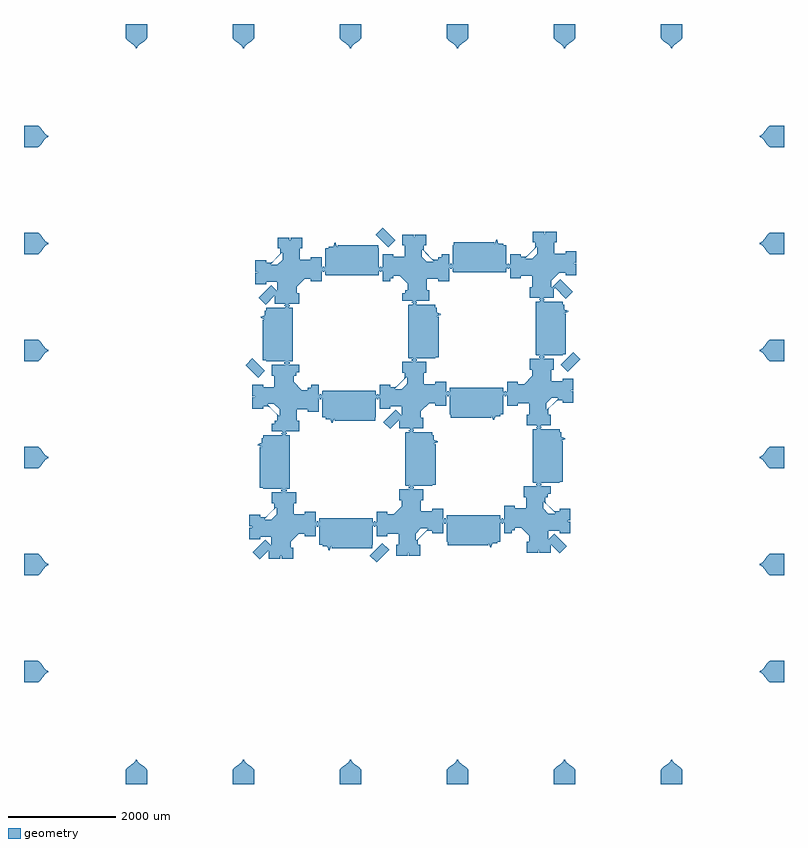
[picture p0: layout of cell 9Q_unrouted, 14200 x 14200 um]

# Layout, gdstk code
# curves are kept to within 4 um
import gdstk
lib = gdstk.Library(unit=1e-6, precision=1e-09)
def P(c, l, *ps):  # polygons
    for p in ps: c.add(gdstk.Polygon(p, *l))
geometry = (1, 0)

c_9q_unrouted = lib.new_cell('9Q_unrouted')
P(c_9q_unrouted, geometry, [(-1250,650),(-1250,1050),(-1000,1050),(-980.645,1045.032),(-941.935,1011.459),(-845.161,885.558),(-819.355,865.968),(-800,861),(-800,839),(-819.355,834.032),(-845.161,814.442),(-941.935,688.541),(-980.645,654.968),(-1000,650)],
  [(12700,650),(12674.194,658.628),(12648.387,681.264),(12551.613,807.736),(12525.806,830.372),(12500,839),(12500,861),(12519.355,865.968),(12545.161,885.558),(12641.935,1011.459),(12680.645,1045.032),(12700,1050),(12950,1050),(12950,650)],
  [(-1250,2650),(-1250,3050),(-1000,3050),(-980.645,3045.032),(-941.935,3011.459),(-845.161,2885.558),(-819.355,2865.968),(-800,2861),(-800,2839),(-819.355,2834.032),(-845.161,2814.442),(-941.935,2688.541),(-980.645,2654.968),(-1000,2650)],
  [(12700,2650),(12674.194,2658.628),(12648.387,2681.264),(12551.613,2807.736),(12525.806,2830.372),(12500,2839),(12500,2861),(12519.355,2865.968),(12545.161,2885.558),(12641.935,3011.459),(12680.645,3045.032),(12700,3050),(12950,3050),(12950,2650)],
  [(-1250,4650),(-1250,5050),(-1000,5050),(-980.645,5045.032),(-941.935,5011.459),(-845.161,4885.558),(-819.355,4865.968),(-800,4861),(-800,4839),(-819.355,4834.032),(-845.161,4814.442),(-941.935,4688.541),(-980.645,4654.968),(-1000,4650)],
  [(12700,4650),(12674.194,4658.628),(12648.387,4681.264),(12551.613,4807.736),(12525.806,4830.372),(12500,4839),(12500,4861),(12519.355,4865.968),(12545.161,4885.558),(12641.935,5011.459),(12680.645,5045.032),(12700,5050),(12950,5050),(12950,4650)],
  [(-1250,6650),(-1250,7050),(-1000,7050),(-980.645,7045.032),(-941.935,7011.459),(-845.161,6885.558),(-819.355,6865.968),(-800,6861),(-800,6839),(-819.355,6834.032),(-845.161,6814.442),(-941.935,6688.541),(-980.645,6654.968),(-1000,6650)],
  [(12700,6650),(12674.194,6658.628),(12648.387,6681.264),(12551.613,6807.736),(12525.806,6830.372),(12500,6839),(12500,6861),(12519.355,6865.968),(12545.161,6885.558),(12641.935,7011.459),(12680.645,7045.032),(12700,7050),(12950,7050),(12950,6650)],
  [(-1250,8650),(-1250,9050),(-1000,9050),(-980.645,9045.032),(-941.935,9011.459),(-845.161,8885.558),(-819.355,8865.968),(-800,8861),(-800,8839),(-819.355,8834.032),(-845.161,8814.442),(-941.935,8688.541),(-980.645,8654.968),(-1000,8650)],
  [(12700,8650),(12674.194,8658.628),(12648.387,8681.264),(12551.613,8807.736),(12525.806,8830.372),(12500,8839),(12500,8861),(12519.355,8865.968),(12545.161,8885.558),(12641.935,9011.459),(12680.645,9045.032),(12700,9050),(12950,9050),(12950,8650)],
  [(-1250,10650),(-1250,11050),(-1000,11050),(-980.645,11045.032),(-941.935,11011.459),(-845.161,10885.558),(-819.355,10865.968),(-800,10861),(-800,10839),(-819.355,10834.032),(-845.161,10814.442),(-941.935,10688.541),(-980.645,10654.968),(-1000,10650)],
  [(12700,10650),(12674.194,10658.628),(12648.387,10681.264),(12551.613,10807.736),(12525.806,10830.372),(12500,10839),(12500,10861),(12519.355,10865.968),(12545.161,10885.558),(12641.935,11011.459),(12680.645,11045.032),(12700,11050),(12950,11050),(12950,10650)],
  [(650,-1250),(650,-1000),(654.968,-980.645),(688.541,-941.935),(814.442,-845.161),(834.032,-819.355),(839,-800),(861,-800),(865.968,-819.355),(885.558,-845.161),(1011.459,-941.935),(1045.032,-980.645),(1050,-1000),(1050,-1250)],
  [(839,12500),(834.032,12519.355),(814.442,12545.161),(688.541,12641.935),(654.968,12680.645),(650,12700),(650,12950),(1050,12950),(1050,12700),(1045.032,12680.645),(1011.459,12641.935),(885.558,12545.161),(865.968,12519.355),(861,12500)],
  [(2650,-1250),(2650,-1000),(2654.968,-980.645),(2688.541,-941.935),(2814.442,-845.161),(2834.032,-819.355),(2839,-800),(2861,-800),(2865.968,-819.355),(2885.558,-845.161),(3011.459,-941.935),(3045.032,-980.645),(3050,-1000),(3050,-1250)],
  [(2839,12500),(2834.032,12519.355),(2814.442,12545.161),(2688.541,12641.935),(2654.968,12680.645),(2650,12700),(2650,12950),(3050,12950),(3050,12700),(3045.032,12680.645),(3011.459,12641.935),(2885.558,12545.161),(2865.968,12519.355),(2861,12500)],
  [(4650,-1250),(4650,-1000),(4654.968,-980.645),(4688.541,-941.935),(4814.442,-845.161),(4834.032,-819.355),(4839,-800),(4861,-800),(4865.968,-819.355),(4885.558,-845.161),(5011.459,-941.935),(5045.032,-980.645),(5050,-1000),(5050,-1250)],
  [(4839,12500),(4834.032,12519.355),(4814.442,12545.161),(4688.541,12641.935),(4654.968,12680.645),(4650,12700),(4650,12950),(5050,12950),(5050,12700),(5045.032,12680.645),(5011.459,12641.935),(4885.558,12545.161),(4865.968,12519.355),(4861,12500)],
  [(6650,-1250),(6650,-1000),(6654.968,-980.645),(6688.541,-941.935),(6814.442,-845.161),(6834.032,-819.355),(6839,-800),(6861,-800),(6865.968,-819.355),(6885.558,-845.161),(7011.459,-941.935),(7045.032,-980.645),(7050,-1000),(7050,-1250)],
  [(6839,12500),(6834.032,12519.355),(6814.442,12545.161),(6688.541,12641.935),(6654.968,12680.645),(6650,12700),(6650,12950),(7050,12950),(7050,12700),(7045.032,12680.645),(7011.459,12641.935),(6885.558,12545.161),(6865.968,12519.355),(6861,12500)],
  [(8650,-1250),(8650,-1000),(8654.968,-980.645),(8688.541,-941.935),(8814.442,-845.161),(8834.032,-819.355),(8839,-800),(8861,-800),(8865.968,-819.355),(8885.558,-845.161),(9011.459,-941.935),(9045.032,-980.645),(9050,-1000),(9050,-1250)],
  [(8839,12500),(8834.032,12519.355),(8814.442,12545.161),(8688.541,12641.935),(8654.968,12680.645),(8650,12700),(8650,12950),(9050,12950),(9050,12700),(9045.032,12680.645),(9011.459,12641.935),(8885.558,12545.161),(8865.968,12519.355),(8861,12500)],
  [(10650,-1250),(10650,-1000),(10654.968,-980.645),(10688.541,-941.935),(10814.442,-845.161),(10834.032,-819.355),(10839,-800),(10861,-800),(10865.968,-819.355),(10885.558,-845.161),(11011.459,-941.935),(11045.032,-980.645),(11050,-1000),(11050,-1250)],
  [(10839,12500),(10834.032,12519.355),(10814.442,12545.161),(10688.541,12641.935),(10654.968,12680.645),(10650,12700),(10650,12950),(11050,12950),(11050,12700),(11045.032,12680.645),(11011.459,12641.935),(10885.558,12545.161),(10865.968,12519.355),(10861,12500)],
  [(3269.215,7708.521),(3140.521,7837.215),(3373.866,8070.56),(3486,7958.426),(3486,8134),(3272.057,8134),(3272.057,8087),(3072.057,8087),(3072.057,8302),(3112.598,8301.64),(3122.057,8290.114),(3122.057,8333.886),(3112.598,8322.36),(3072.057,8322),(3072.057,8537),(3272.057,8537),(3272.057,8490),(3363.996,8490),(3371.996,8498),(3378.309,8492.999),(3455.727,8568.702),(3358.1,8465.719),(3355.806,8456.563),(3365.027,8448.996),(3482.936,8449.945),(3583.004,8552.853),(3583.004,8666.973),(3574.474,8676.385),(3463.298,8576.273),(3539.001,8653.691),(3534,8660.004),(3542,8668.004),(3542,8759.943),(3495,8759.943),(3495,8959.943),(3710,8959.943),(3709.64,8919.402),(3698.114,8909.943),(3741.886,8909.943),(3730.36,8919.402),(3730,8959.943),(3945,8959.943),(3945,8759.943),(3898,8759.943),(3898,8546),(4111.943,8546),(4111.943,8593),(4311.943,8593),(4311.943,8378),(4271.402,8378.36),(4261.943,8389.886),(4261.943,8346.114),(4271.402,8357.64),(4311.943,8358),(4311.943,8143),(4111.943,8143),(4111.943,8190),(3994.548,8190),(3842,8037.452),(3842,7920.057),(3889,7920.057),(3889,7720.057),(3674,7720.057),(3674.36,7760.598),(3685.886,7770.057),(3642.114,7770.057),(3653.64,7760.598),(3654,7720.057),(3439,7720.057),(3439,7878.306)],
  [(5558.866,8780.44),(5325.521,9013.785),(5454.215,9142.479),(5687.56,8909.134)],
  [(5875,7776.057),(5875,7976.057),(5922,7976.057),(5922,8093.452),(5769.452,8246),(5652.057,8246),(5652.057,8199),(5452.057,8199),(5452.057,8414),(5492.598,8413.64),(5502.057,8402.114),(5502.057,8445.886),(5492.598,8434.36),(5452.057,8434),(5452.057,8649),(5652.057,8649),(5652.057,8602),(5866,8602),(5866,8815.943),(5819,8815.943),(5819,9015.943),(6034,9015.943),(6033.64,8975.402),(6022.114,8965.943),(6065.886,8965.943),(6054.36,8975.402),(6054,9015.943),(6269,9015.943),(6269,8815.943),(6222,8815.943),(6222,8724.004),(6230,8716.004),(6224.999,8709.691),(6300.702,8632.273),(6197.719,8729.9),(6188.563,8732.194),(6180.996,8722.973),(6181.945,8605.064),(6284.853,8504.996),(6398.973,8504.996),(6408.385,8513.526),(6308.273,8624.702),(6385.691,8548.999),(6392.004,8554),(6400.004,8546),(6491.943,8546),(6491.943,8593),(6691.943,8593),(6691.943,8378),(6651.402,8378.36),(6641.943,8389.886),(6641.943,8346.114),(6651.402,8357.64),(6691.943,8358),(6691.943,8143),(6491.943,8143),(6491.943,8190),(6278,8190),(6278,7976.057),(6325,7976.057),(6325,7776.057),(6110,7776.057),(6110.36,7816.598),(6121.886,7826.057),(6078.114,7826.057),(6089.64,7816.598),(6090,7776.057)],
  [(8874.785,7820.521),(8665,8030.306),(8665,8007.678),(8649,8023.678),(8649,7832.057),(8434,7832.057),(8434.36,7872.598),(8445.886,7882.057),(8402.114,7882.057),(8413.64,7872.598),(8414,7832.057),(8199,7832.057),(8199,8032.057),(8246,8032.057),(8246,8246),(8032.057,8246),(8032.057,8199),(7832.057,8199),(7832.057,8414),(7872.598,8413.64),(7882.057,8402.114),(7882.057,8445.886),(7872.598,8434.36),(7832.057,8434),(7832.057,8649),(8032.057,8649),(8032.057,8602),(8123.996,8602),(8131.996,8610),(8138.309,8604.999),(8215.727,8680.702),(8115.615,8569.526),(8125.027,8560.996),(8239.147,8560.996),(8342.055,8661.064),(8343.004,8778.973),(8335.437,8788.194),(8326.281,8785.9),(8223.298,8688.273),(8299.001,8765.691),(8294,8772.004),(8302,8780.004),(8302,8871.943),(8255,8871.943),(8255,9071.943),(8470,9071.943),(8469.64,9031.402),(8458.114,9021.943),(8501.886,9021.943),(8490.36,9031.402),(8490,9071.943),(8705,9071.943),(8705,8871.943),(8658,8871.943),(8658,8658),(8871.943,8658),(8871.943,8705),(9071.943,8705),(9071.943,8490),(9031.402,8490.36),(9021.943,8501.886),(9021.943,8458.114),(9031.402,8469.64),(9071.943,8470),(9071.943,8255),(8871.943,8255),(8871.943,8302),(8754.548,8302),(8602,8149.452),(8602,8032.057),(8640.621,8032.057),(8624.621,8048.057),(8647.249,8048.057),(8641.44,8053.866),(8770.134,8182.56),(9003.479,7949.215)],
  [(3122.866,6344.44),(2889.521,6577.785),(3018.215,6706.479),(3251.56,6473.134)],
  [(3439,5340.057),(3439,5540.057),(3486,5540.057),(3486,5631.996),(3478,5639.996),(3483.001,5646.309),(3407.298,5723.727),(3510.281,5626.1),(3519.437,5623.806),(3527.004,5633.027),(3526.055,5750.936),(3423.147,5851.004),(3309.027,5851.004),(3299.615,5842.474),(3399.727,5731.298),(3322.309,5807.001),(3315.996,5802),(3307.996,5810),(3216.057,5810),(3216.057,5763),(3016.057,5763),(3016.057,5978),(3056.598,5977.64),(3066.057,5966.114),(3066.057,6009.886),(3056.598,5998.36),(3016.057,5998),(3016.057,6213),(3216.057,6213),(3216.057,6166),(3430,6166),(3430,6379.943),(3383,6379.943),(3383,6579.943),(3598,6579.943),(3597.64,6539.402),(3586.114,6529.943),(3629.886,6529.943),(3618.36,6539.402),(3618,6579.943),(3833,6579.943),(3833,6379.943),(3786,6379.943),(3786,6262.548),(3938.548,6110),(4055.943,6110),(4055.943,6157),(4255.943,6157),(4255.943,5942),(4215.402,5942.36),(4205.943,5953.886),(4205.943,5910.114),(4215.402,5921.64),(4255.943,5922),(4255.943,5707),(4055.943,5707),(4055.943,5754),(3842,5754),(3842,5540.057),(3889,5540.057),(3889,5340.057),(3674,5340.057),(3674.36,5380.598),(3685.886,5390.057),(3642.114,5390.057),(3653.64,5380.598),(3654,5340.057)],
  [(5593.215,5384.521),(5464.521,5513.215),(5697.866,5746.56),(5810,5634.426),(5810,5810),(5596.057,5810),(5596.057,5763),(5396.057,5763),(5396.057,5978),(5436.598,5977.64),(5446.057,5966.114),(5446.057,6009.886),(5436.598,5998.36),(5396.057,5998),(5396.057,6213),(5596.057,6213),(5596.057,6166),(5687.996,6166),(5695.996,6174),(5702.309,6168.999),(5779.727,6244.702),(5682.1,6141.719),(5679.806,6132.563),(5689.027,6124.996),(5806.936,6125.945),(5907.004,6228.853),(5907.004,6342.973),(5898.474,6352.385),(5787.298,6252.273),(5863.001,6329.691),(5858,6336.004),(5866,6344.004),(5866,6435.943),(5819,6435.943),(5819,6635.943),(6034,6635.943),(6033.64,6595.402),(6022.114,6585.943),(6065.886,6585.943),(6054.36,6595.402),(6054,6635.943),(6269,6635.943),(6269,6435.943),(6222,6435.943),(6222,6222),(6435.943,6222),(6435.943,6269),(6635.943,6269),(6635.943,6054),(6595.402,6054.36),(6585.943,6065.886),(6585.943,6022.114),(6595.402,6033.64),(6635.943,6034),(6635.943,5819),(6435.943,5819),(6435.943,5866),(6318.548,5866),(6166,5713.452),(6166,5596.057),(6213,5596.057),(6213,5396.057),(5998,5396.057),(5998.36,5436.598),(6009.886,5446.057),(5966.114,5446.057),(5977.64,5436.598),(5978,5396.057),(5763,5396.057),(5763,5554.306)],
  [(8909.134,6456.44),(8780.44,6585.134),(9013.785,6818.479),(9142.479,6689.785)],
  [(8143,5452.057),(8143,5652.057),(8190,5652.057),(8190,5866),(7976.057,5866),(7976.057,5819),(7776.057,5819),(7776.057,6034),(7816.598,6033.64),(7826.057,6022.114),(7826.057,6065.886),(7816.598,6054.36),(7776.057,6054),(7776.057,6269),(7976.057,6269),(7976.057,6222),(8093.452,6222),(8246,6374.548),(8246,6491.943),(8199,6491.943),(8199,6691.943),(8414,6691.943),(8413.64,6651.402),(8402.114,6641.943),(8445.886,6641.943),(8434.36,6651.402),(8434,6691.943),(8649,6691.943),(8649,6491.943),(8602,6491.943),(8602,6278),(8815.943,6278),(8815.943,6325),(9015.943,6325),(9015.943,6110),(8975.402,6110.36),(8965.943,6121.886),(8965.943,6078.114),(8975.402,6089.64),(9015.943,6090),(9015.943,5875),(8815.943,5875),(8815.943,5922),(8724.004,5922),(8716.004,5914),(8709.691,5919.001),(8632.273,5843.298),(8729.9,5946.281),(8732.194,5955.437),(8722.973,5963.004),(8605.064,5962.055),(8504.996,5859.147),(8504.996,5745.027),(8513.526,5735.615),(8624.702,5835.727),(8548.999,5758.309),(8554,5751.996),(8546,5743.996),(8546,5652.057),(8593,5652.057),(8593,5452.057),(8378,5452.057),(8378.36,5492.598),(8389.886,5502.057),(8346.114,5502.057),(8357.64,5492.598),(8358,5452.057)],
  [(3157.215,2948.521),(3028.521,3077.215),(3261.866,3310.56),(3374,3198.426),(3374,3374),(3160.057,3374),(3160.057,3327),(2960.057,3327),(2960.057,3542),(3000.598,3541.64),(3010.057,3530.114),(3010.057,3573.886),(3000.598,3562.36),(2960.057,3562),(2960.057,3777),(3160.057,3777),(3160.057,3730),(3251.996,3730),(3259.996,3738),(3266.309,3732.999),(3343.727,3808.702),(3246.1,3705.719),(3243.806,3696.563),(3253.027,3688.996),(3370.936,3689.945),(3471.004,3792.853),(3471.004,3906.973),(3462.474,3916.385),(3351.298,3816.273),(3427.001,3893.691),(3422,3900.004),(3430,3908.004),(3430,3999.943),(3383,3999.943),(3383,4199.943),(3598,4199.943),(3597.64,4159.402),(3586.114,4149.943),(3629.886,4149.943),(3618.36,4159.402),(3618,4199.943),(3833,4199.943),(3833,3999.943),(3786,3999.943),(3786,3786),(3999.943,3786),(3999.943,3833),(4199.943,3833),(4199.943,3618),(4159.402,3618.36),(4149.943,3629.886),(4149.943,3586.114),(4159.402,3597.64),(4199.943,3598),(4199.943,3383),(3999.943,3383),(3999.943,3430),(3882.548,3430),(3730,3277.452),(3730,3160.057),(3777,3160.057),(3777,2960.057),(3562,2960.057),(3562.36,3000.598),(3573.886,3010.057),(3530.114,3010.057),(3541.64,3000.598),(3542,2960.057),(3327,2960.057),(3327,3118.306)],
  [(5707,3016.057),(5707,3216.057),(5754,3216.057),(5754,3430),(5540.057,3430),(5540.057,3383),(5340.057,3383),(5340.057,3598),(5380.598,3597.64),(5390.057,3586.114),(5390.057,3629.886),(5380.598,3618.36),(5340.057,3618),(5340.057,3833),(5540.057,3833),(5540.057,3786),(5657.452,3786),(5810,3938.548),(5810,4055.943),(5763,4055.943),(5763,4255.943),(5978,4255.943),(5977.64,4215.402),(5966.114,4205.943),(6009.886,4205.943),(5998.36,4215.402),(5998,4255.943),(6213,4255.943),(6213,4055.943),(6166,4055.943),(6166,3842),(6379.943,3842),(6379.943,3889),(6579.943,3889),(6579.943,3674),(6539.402,3674.36),(6529.943,3685.886),(6529.943,3642.114),(6539.402,3653.64),(6579.943,3654),(6579.943,3439),(6379.943,3439),(6379.943,3486),(6288.004,3486),(6280.004,3478),(6273.691,3483.001),(6196.273,3407.298),(6293.9,3510.281),(6296.194,3519.437),(6286.973,3527.004),(6169.064,3526.055),(6068.996,3423.147),(6068.996,3309.027),(6077.526,3299.615),(6188.702,3399.727),(6112.999,3322.309),(6118,3315.996),(6110,3307.996),(6110,3216.057),(6157,3216.057),(6157,3016.057),(5942,3016.057),(5942.36,3056.598),(5953.886,3066.057),(5910.114,3066.057),(5921.64,3056.598),(5922,3016.057)],
  [(5342.215,2889.521),(5213.521,3018.215),(5446.866,3251.56),(5575.56,3122.866)],
  [(8762.785,3060.521),(8593,3230.306),(8593,3072.057),(8378,3072.057),(8378.36,3112.598),(8389.886,3122.057),(8346.114,3122.057),(8357.64,3112.598),(8358,3072.057),(8143,3072.057),(8143,3272.057),(8190,3272.057),(8190,3389.452),(8037.452,3542),(7920.057,3542),(7920.057,3495),(7720.057,3495),(7720.057,3710),(7760.598,3709.64),(7770.057,3698.114),(7770.057,3741.886),(7760.598,3730.36),(7720.057,3730),(7720.057,3945),(7920.057,3945),(7920.057,3898),(8134,3898),(8134,4111.943),(8087,4111.943),(8087,4311.943),(8302,4311.943),(8301.64,4271.402),(8290.114,4261.943),(8333.886,4261.943),(8322.36,4271.402),(8322,4311.943),(8537,4311.943),(8537,4111.943),(8490,4111.943),(8490,4020.004),(8498,4012.004),(8492.999,4005.691),(8568.702,3928.273),(8457.526,4028.385),(8448.996,4018.973),(8448.996,3904.853),(8549.064,3801.945),(8666.973,3800.996),(8676.194,3808.563),(8673.9,3817.719),(8576.273,3920.702),(8653.691,3844.999),(8660.004,3850),(8668.004,3842),(8759.943,3842),(8759.943,3889),(8959.943,3889),(8959.943,3674),(8919.402,3674.36),(8909.943,3685.886),(8909.943,3642.114),(8919.402,3653.64),(8959.943,3654),(8959.943,3439),(8759.943,3439),(8759.943,3486),(8546,3486),(8546,3310.426),(8658.134,3422.56),(8891.479,3189.215)],
  [(4172,8143),(4172,8593),(4312,8593),(4312,8405.416),(4317,8392.4),(4336,8392.4),(4336,8416.4),(4342,8416.4),(4342,8392.4),(4352,8392.4),(4352,8416.4),(4358,8416.4),(4358,8392.4),(4377,8392.4),(4382,8405.416),(4382.573,8751.373),(4390.531,8757.904),(4443,8758),(4443,8788),(4531.791,8788),(4552,8860),(4558,8860),(4561.234,8788),(4568,8860),(4574,8860),(4594.209,8788),(4609.5,8788),(4609.5,8819),(5364.5,8819),(5364.752,8764.621),(5382,8749.68),(5382,8405.416),(5387,8392.4),(5406,8392.4),(5406,8416.4),(5412,8416.4),(5412,8392.4),(5422,8392.4),(5422,8416.4),(5428,8416.4),(5428,8392.4),(5447,8392.4),(5452,8405.416),(5452,8593),(5592,8593),(5592,8143),(5452,8143),(5452,8330.584),(5447,8343.6),(5428,8343.6),(5428,8319.6),(5422,8319.6),(5422,8343.6),(5412,8343.6),(5412,8319.6),(5406,8319.6),(5406,8343.6),(5387,8343.6),(5382,8330.584),(5381.904,8266.531),(5372.491,8258),(4391.509,8258),(4382.096,8266.531),(4382,8330.584),(4377,8343.6),(4358,8343.6),(4358,8319.6),(4352,8319.6),(4352,8343.6),(4342,8343.6),(4342,8319.6),(4336,8319.6),(4336,8343.6),(4317,8343.6),(4312,8330.584),(4312,8143)],
  [(3439,6440),(3439,6580),(3626.584,6580),(3639.6,6585),(3639.6,6604),(3615.6,6604),(3615.6,6610),(3639.6,6610),(3639.6,6620),(3615.6,6620),(3615.6,6626),(3639.6,6626),(3639.6,6645),(3626.584,6650),(3282.32,6650),(3267.379,6667.248),(3213,6667.5),(3213,7422.5),(3244,7422.5),(3244,7437.791),(3172,7458),(3172,7464),(3244,7470.766),(3172,7474),(3172,7480),(3244,7500.209),(3244,7589),(3274,7589),(3274.096,7641.469),(3280.627,7649.427),(3626.584,7650),(3639.6,7655),(3639.6,7674),(3615.6,7674),(3615.6,7680),(3639.6,7680),(3639.6,7690),(3615.6,7690),(3615.6,7696),(3639.6,7696),(3639.6,7715),(3626.584,7720),(3439,7720),(3439,7860),(3889,7860),(3889,7720),(3701.416,7720),(3688.4,7715),(3688.4,7696),(3712.4,7696),(3712.4,7690),(3688.4,7690),(3688.4,7680),(3712.4,7680),(3712.4,7674),(3688.4,7674),(3688.4,7655),(3701.416,7650),(3765.469,7649.904),(3774,7640.491),(3774,6659.509),(3765.469,6650.096),(3701.416,6650),(3688.4,6645),(3688.4,6626),(3712.4,6626),(3712.4,6620),(3688.4,6620),(3688.4,6610),(3712.4,6610),(3712.4,6604),(3688.4,6604),(3688.4,6585),(3701.416,6580),(3889,6580),(3889,6440)],
  [(6552,8199),(6552,8649),(6692,8649),(6692,8461.416),(6697,8448.4),(6716,8448.4),(6716,8472.4),(6722,8472.4),(6722,8448.4),(6732,8448.4),(6732,8472.4),(6738,8472.4),(6738,8448.4),(6757,8448.4),(6762,8461.416),(6762,8805.68),(6779.248,8820.621),(6779.5,8875),(7534.5,8875),(7534.5,8844),(7549.791,8844),(7570,8916),(7576,8916),(7582.766,8844),(7586,8916),(7592,8916),(7612.209,8844),(7701,8844),(7701,8814),(7753.469,8813.904),(7761.427,8807.373),(7762,8461.416),(7767,8448.4),(7786,8448.4),(7786,8472.4),(7792,8472.4),(7792,8448.4),(7802,8448.4),(7802,8472.4),(7808,8472.4),(7808,8448.4),(7827,8448.4),(7832,8461.416),(7832,8649),(7972,8649),(7972,8199),(7832,8199),(7832,8386.584),(7827,8399.6),(7808,8399.6),(7808,8375.6),(7802,8375.6),(7802,8399.6),(7792,8399.6),(7792,8375.6),(7786,8375.6),(7786,8399.6),(7767,8399.6),(7762,8386.584),(7761.904,8322.531),(7752.491,8314),(6771.509,8314),(6762.096,8322.531),(6762,8386.584),(6757,8399.6),(6738,8399.6),(6738,8375.6),(6732,8375.6),(6732,8399.6),(6722,8399.6),(6722,8375.6),(6716,8375.6),(6716,8399.6),(6697,8399.6),(6692,8386.584),(6692,8199)],
  [(5819,6496),(5819,6636),(6006.584,6636),(6019.6,6641),(6019.6,6660),(5995.6,6660),(5995.6,6666),(6019.6,6666),(6019.6,6676),(5995.6,6676),(5995.6,6682),(6019.6,6682),(6019.6,6701),(6006.584,6706),(5942.531,6706.096),(5934,6715.509),(5934,7696.491),(5942.531,7705.904),(6006.584,7706),(6019.6,7711),(6019.6,7730),(5995.6,7730),(5995.6,7736),(6019.6,7736),(6019.6,7746),(5995.6,7746),(5995.6,7752),(6019.6,7752),(6019.6,7771),(6006.584,7776),(5819,7776),(5819,7916),(6269,7916),(6269,7776),(6081.416,7776),(6068.4,7771),(6068.4,7752),(6092.4,7752),(6092.4,7746),(6068.4,7746),(6068.4,7736),(6092.4,7736),(6092.4,7730),(6068.4,7730),(6068.4,7711),(6081.416,7706),(6427.373,7705.427),(6433.904,7697.469),(6434,7645),(6464,7645),(6464,7556.209),(6536,7536),(6536,7530),(6464,7526.766),(6536,7520),(6536,7514),(6464,7493.791),(6464,7478.5),(6495,7478.5),(6495,6723.5),(6440.621,6723.248),(6425.68,6706),(6081.416,6706),(6068.4,6701),(6068.4,6682),(6092.4,6682),(6092.4,6676),(6068.4,6676),(6068.4,6666),(6092.4,6666),(6092.4,6660),(6068.4,6660),(6068.4,6641),(6081.416,6636),(6269,6636),(6269,6496)],
  [(8199,6552),(8199,6692),(8386.584,6692),(8399.6,6697),(8399.6,6716),(8375.6,6716),(8375.6,6722),(8399.6,6722),(8399.6,6732),(8375.6,6732),(8375.6,6738),(8399.6,6738),(8399.6,6757),(8386.584,6762),(8322.531,6762.096),(8314,6771.509),(8314,7752.491),(8322.531,7761.904),(8386.584,7762),(8399.6,7767),(8399.6,7786),(8375.6,7786),(8375.6,7792),(8399.6,7792),(8399.6,7802),(8375.6,7802),(8375.6,7808),(8399.6,7808),(8399.6,7827),(8386.584,7832),(8199,7832),(8199,7972),(8649,7972),(8649,7832),(8461.416,7832),(8448.4,7827),(8448.4,7808),(8472.4,7808),(8472.4,7802),(8448.4,7802),(8448.4,7792),(8472.4,7792),(8472.4,7786),(8448.4,7786),(8448.4,7767),(8461.416,7762),(8807.373,7761.427),(8813.904,7753.469),(8814,7701),(8844,7701),(8844,7612.209),(8916,7592),(8916,7586),(8844,7582.766),(8916,7576),(8916,7570),(8844,7549.791),(8844,7534.5),(8875,7534.5),(8875,6779.5),(8820.621,6779.248),(8805.68,6762),(8461.416,6762),(8448.4,6757),(8448.4,6738),(8472.4,6738),(8472.4,6732),(8448.4,6732),(8448.4,6722),(8472.4,6722),(8472.4,6716),(8448.4,6716),(8448.4,6697),(8461.416,6692),(8649,6692),(8649,6552)],
  [(4496,5496),(4475.791,5568),(4387,5568),(4387,5598),(4334.531,5598.096),(4326.573,5604.627),(4326,5950.584),(4321,5963.6),(4302,5963.6),(4302,5939.6),(4296,5939.6),(4296,5963.6),(4286,5963.6),(4286,5939.6),(4280,5939.6),(4280,5963.6),(4261,5963.6),(4256,5950.584),(4256,5763),(4116,5763),(4116,6213),(4256,6213),(4256,6025.416),(4261,6012.4),(4280,6012.4),(4280,6036.4),(4286,6036.4),(4286,6012.4),(4296,6012.4),(4296,6036.4),(4302,6036.4),(4302,6012.4),(4321,6012.4),(4326,6025.416),(4326.096,6089.469),(4335.509,6098),(5316.491,6098),(5325.904,6089.469),(5326,6025.416),(5331,6012.4),(5350,6012.4),(5350,6036.4),(5356,6036.4),(5356,6012.4),(5366,6012.4),(5366,6036.4),(5372,6036.4),(5372,6012.4),(5391,6012.4),(5396,6025.416),(5396,6213),(5536,6213),(5536,5763),(5396,5763),(5396,5950.584),(5391,5963.6),(5372,5963.6),(5372,5939.6),(5366,5939.6),(5366,5963.6),(5356,5963.6),(5356,5939.6),(5350,5939.6),(5350,5963.6),(5331,5963.6),(5326,5950.584),(5326,5606.32),(5308.752,5591.379),(5308.5,5537),(4553.5,5537),(4553.5,5568),(4538.209,5568),(4518,5496),(4512,5496),(4505.234,5568),(4502,5496)],
  [(3383,4060),(3383,4200),(3570.584,4200),(3583.6,4205),(3583.6,4224),(3559.6,4224),(3559.6,4230),(3583.6,4230),(3583.6,4240),(3559.6,4240),(3559.6,4246),(3583.6,4246),(3583.6,4265),(3570.584,4270),(3226.32,4270),(3211.379,4287.248),(3157,4287.5),(3157,5042.5),(3188,5042.5),(3188,5057.791),(3116,5078),(3116,5084),(3188,5090.766),(3116,5094),(3116,5100),(3188,5120.209),(3188,5209),(3218,5209),(3218.096,5261.469),(3224.627,5269.427),(3570.584,5270),(3583.6,5275),(3583.6,5294),(3559.6,5294),(3559.6,5300),(3583.6,5300),(3583.6,5310),(3559.6,5310),(3559.6,5316),(3583.6,5316),(3583.6,5335),(3570.584,5340),(3383,5340),(3383,5480),(3833,5480),(3833,5340),(3645.416,5340),(3632.4,5335),(3632.4,5316),(3656.4,5316),(3656.4,5310),(3632.4,5310),(3632.4,5300),(3656.4,5300),(3656.4,5294),(3632.4,5294),(3632.4,5275),(3645.416,5270),(3709.469,5269.904),(3718,5260.491),(3718,4279.509),(3709.469,4270.096),(3645.416,4270),(3632.4,4265),(3632.4,4246),(3656.4,4246),(3656.4,4240),(3632.4,4240),(3632.4,4230),(3656.4,4230),(3656.4,4224),(3632.4,4224),(3632.4,4205),(3645.416,4200),(3833,4200),(3833,4060)],
  [(7514,5552),(7493.791,5624),(7478.5,5624),(7478.5,5593),(6723.5,5593),(6723.248,5647.379),(6706,5662.32),(6706,6006.584),(6701,6019.6),(6682,6019.6),(6682,5995.6),(6676,5995.6),(6676,6019.6),(6666,6019.6),(6666,5995.6),(6660,5995.6),(6660,6019.6),(6641,6019.6),(6636,6006.584),(6636,5819),(6496,5819),(6496,6269),(6636,6269),(6636,6081.416),(6641,6068.4),(6660,6068.4),(6660,6092.4),(6666,6092.4),(6666,6068.4),(6676,6068.4),(6676,6092.4),(6682,6092.4),(6682,6068.4),(6701,6068.4),(6706,6081.416),(6706.096,6145.469),(6715.509,6154),(7696.491,6154),(7705.904,6145.469),(7706,6081.416),(7711,6068.4),(7730,6068.4),(7730,6092.4),(7736,6092.4),(7736,6068.4),(7746,6068.4),(7746,6092.4),(7752,6092.4),(7752,6068.4),(7771,6068.4),(7776,6081.416),(7776,6269),(7916,6269),(7916,5819),(7776,5819),(7776,6006.584),(7771,6019.6),(7752,6019.6),(7752,5995.6),(7746,5995.6),(7746,6019.6),(7736,6019.6),(7736,5995.6),(7730,5995.6),(7730,6019.6),(7711,6019.6),(7706,6006.584),(7705.051,5659.719),(7696.491,5654),(7645,5654),(7645,5624),(7556.209,5624),(7536,5552),(7530,5552),(7523.234,5624),(7520,5552)],
  [(5763,4116),(5763,4256),(5950.584,4256),(5963.6,4261),(5963.6,4280),(5939.6,4280),(5939.6,4286),(5963.6,4286),(5963.6,4296),(5939.6,4296),(5939.6,4302),(5963.6,4302),(5963.6,4321),(5950.584,4326),(5886.531,4326.096),(5878,4335.509),(5878,5316.491),(5886.531,5325.904),(5950.584,5326),(5963.6,5331),(5963.6,5350),(5939.6,5350),(5939.6,5356),(5963.6,5356),(5963.6,5366),(5939.6,5366),(5939.6,5372),(5963.6,5372),(5963.6,5391),(5950.584,5396),(5763,5396),(5763,5536),(6213,5536),(6213,5396),(6025.416,5396),(6012.4,5391),(6012.4,5372),(6036.4,5372),(6036.4,5366),(6012.4,5366),(6012.4,5356),(6036.4,5356),(6036.4,5350),(6012.4,5350),(6012.4,5331),(6025.416,5326),(6371.373,5325.427),(6377.904,5317.469),(6378,5265),(6408,5265),(6408,5176.209),(6480,5156),(6480,5150),(6408,5146.766),(6480,5140),(6480,5134),(6408,5113.791),(6408,5098.5),(6439,5098.5),(6439,4343.5),(6384.621,4343.248),(6369.68,4326),(6025.416,4326),(6012.4,4321),(6012.4,4302),(6036.4,4302),(6036.4,4296),(6012.4,4296),(6012.4,4286),(6036.4,4286),(6036.4,4280),(6012.4,4280),(6012.4,4261),(6025.416,4256),(6213,4256),(6213,4116)],
  [(8143,4172),(8143,4312),(8330.584,4312),(8343.6,4317),(8343.6,4336),(8319.6,4336),(8319.6,4342),(8343.6,4342),(8343.6,4352),(8319.6,4352),(8319.6,4358),(8343.6,4358),(8343.6,4377),(8330.584,4382),(8266.531,4382.096),(8258,4391.509),(8258,5372.491),(8266.531,5381.904),(8330.584,5382),(8343.6,5387),(8343.6,5406),(8319.6,5406),(8319.6,5412),(8343.6,5412),(8343.6,5422),(8319.6,5422),(8319.6,5428),(8343.6,5428),(8343.6,5447),(8330.584,5452),(8143,5452),(8143,5592),(8593,5592),(8593,5452),(8405.416,5452),(8392.4,5447),(8392.4,5428),(8416.4,5428),(8416.4,5422),(8392.4,5422),(8392.4,5412),(8416.4,5412),(8416.4,5406),(8392.4,5406),(8392.4,5387),(8405.416,5382),(8751.373,5381.427),(8757.904,5373.469),(8758,5321),(8788,5321),(8788,5232.209),(8860,5212),(8860,5206),(8788,5202.766),(8860,5196),(8860,5190),(8788,5169.791),(8788,5154.5),(8819,5154.5),(8819,4399.5),(8764.621,4399.248),(8749.68,4382),(8405.416,4382),(8392.4,4377),(8392.4,4358),(8416.4,4358),(8416.4,4352),(8392.4,4352),(8392.4,4342),(8416.4,4342),(8416.4,4336),(8392.4,4336),(8392.4,4317),(8405.416,4312),(8593,4312),(8593,4172)],
  [(4440,3116),(4419.791,3188),(4331,3188),(4331,3218),(4278.531,3218.096),(4270.573,3224.627),(4270,3570.584),(4265,3583.6),(4246,3583.6),(4246,3559.6),(4240,3559.6),(4240,3583.6),(4230,3583.6),(4230,3559.6),(4224,3559.6),(4224,3583.6),(4205,3583.6),(4200,3570.584),(4200,3383),(4060,3383),(4060,3833),(4200,3833),(4200,3645.416),(4205,3632.4),(4224,3632.4),(4224,3656.4),(4230,3656.4),(4230,3632.4),(4240,3632.4),(4240,3656.4),(4246,3656.4),(4246,3632.4),(4265,3632.4),(4270,3645.416),(4270.096,3709.469),(4279.509,3718),(5260.491,3718),(5269.904,3709.469),(5270,3645.416),(5275,3632.4),(5294,3632.4),(5294,3656.4),(5300,3656.4),(5300,3632.4),(5310,3632.4),(5310,3656.4),(5316,3656.4),(5316,3632.4),(5335,3632.4),(5340,3645.416),(5340,3833),(5480,3833),(5480,3383),(5340,3383),(5340,3570.584),(5335,3583.6),(5316,3583.6),(5316,3559.6),(5310,3559.6),(5310,3583.6),(5300,3583.6),(5300,3559.6),(5294,3559.6),(5294,3583.6),(5275,3583.6),(5270,3570.584),(5270,3226.32),(5252.752,3211.379),(5252.5,3157),(4497.5,3157),(4497.5,3188),(4482.209,3188),(4462,3116),(4456,3116),(4449.234,3188),(4446,3116)],
  [(7458,3172),(7437.791,3244),(7422.5,3244),(7422.5,3213),(6667.5,3213),(6667.248,3267.379),(6650,3282.32),(6650,3626.584),(6645,3639.6),(6626,3639.6),(6626,3615.6),(6620,3615.6),(6620,3639.6),(6610,3639.6),(6610,3615.6),(6604,3615.6),(6604,3639.6),(6585,3639.6),(6580,3626.584),(6580,3439),(6440,3439),(6440,3889),(6580,3889),(6580,3701.416),(6585,3688.4),(6604,3688.4),(6604,3712.4),(6610,3712.4),(6610,3688.4),(6620,3688.4),(6620,3712.4),(6626,3712.4),(6626,3688.4),(6645,3688.4),(6650,3701.416),(6650.096,3765.469),(6659.509,3774),(7640.491,3774),(7649.904,3765.469),(7650,3701.416),(7655,3688.4),(7674,3688.4),(7674,3712.4),(7680,3712.4),(7680,3688.4),(7690,3688.4),(7690,3712.4),(7696,3712.4),(7696,3688.4),(7715,3688.4),(7720,3701.416),(7720,3889),(7860,3889),(7860,3439),(7720,3439),(7720,3626.584),(7715,3639.6),(7696,3639.6),(7696,3615.6),(7690,3615.6),(7690,3639.6),(7680,3639.6),(7680,3615.6),(7674,3615.6),(7674,3639.6),(7655,3639.6),(7650,3626.584),(7649.051,3279.719),(7640.491,3274),(7589,3274),(7589,3244),(7500.209,3244),(7480,3172),(7474,3172),(7467.234,3244),(7464,3172)])
c_9q_unrouted.add(gdstk.Label('1/0 geometry', (-1250,-1863.44), layer=1, texttype=0))

lib.write_gds('9Q_unrouted.gds')
